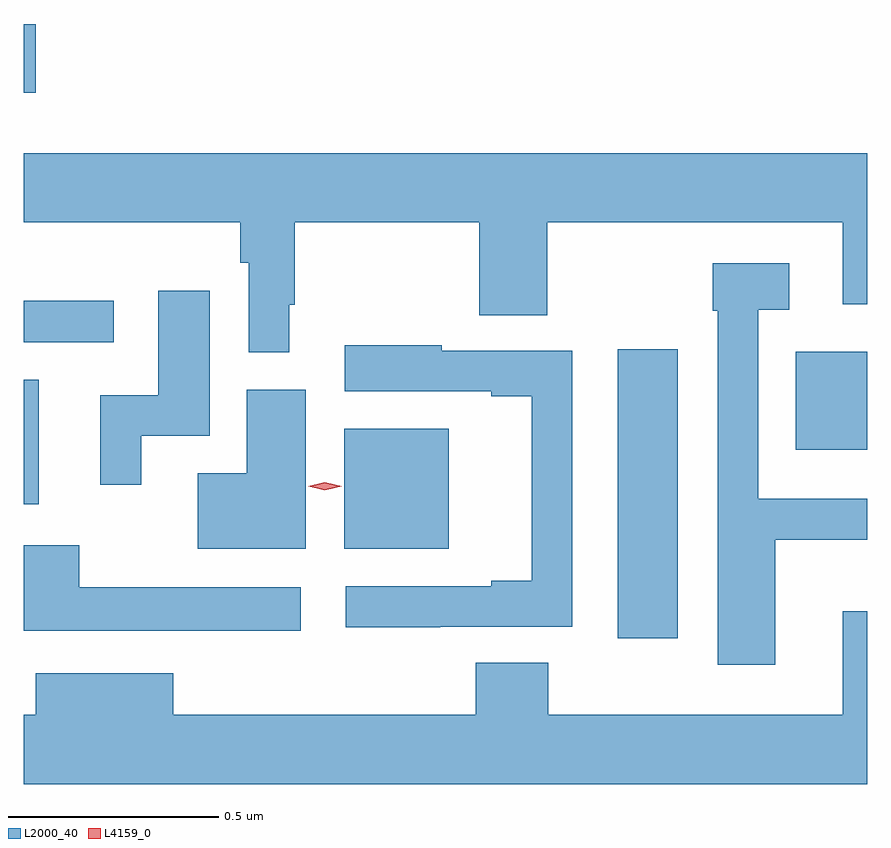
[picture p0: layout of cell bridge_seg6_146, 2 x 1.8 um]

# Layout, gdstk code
import gdstk
lib = gdstk.Library(unit=1e-6, precision=1e-09)
def R(c, l, rs):  # rectangles x0, y0, x1, y1
    for r in rs: c.add(gdstk.rectangle(r[:2], r[2:], *l))
def P(c, l, *ps):  # polygons
    for p in ps: c.add(gdstk.Polygon(p, *l))
L2000_40 = (2000, 40)
L4159_0 = (4159, 0)

bridge_seg6_146 = lib.new_cell('bridge_seg6_146')
R(bridge_seg6_146, L2000_40, [(618.221,995.634,618.364,996.319), (617.573,995.846,617.821,996.13), (616.813,995.951,616.849,996.247), (618.644,996.08,618.813,996.313), (616.813,996.336,617.026,996.434), (616.813,996.927,616.841,997.09)])
P(bridge_seg6_146, L2000_40, [(617.443,996.424),(617.455,996.424),(617.455,996.62),(617.893,996.62),(617.893,996.4),(618.054,996.4),(618.054,996.62),(618.755,996.62),(618.755,996.426),(618.813,996.426),(618.813,996.784),(616.813,996.784),(616.813,996.62),(617.326,996.62),(617.326,996.524),(617.346,996.524),(617.346,996.312),(617.443,996.312)],
  [(618.595,995.867),(618.813,995.867),(618.813,995.964),(618.555,995.964),(618.555,996.413),(618.628,996.413),(618.628,996.523),(618.447,996.523),(618.447,996.41),(618.459,996.41),(618.459,995.861),(618.458,995.861),(618.458,995.571),(618.595,995.571)],
  [(617.092,996.114),(617.254,996.114),(617.254,996.457),(617.132,996.457),(617.132,996.21),(616.994,996.21),(616.994,995.997),(617.092,995.997)],
  [(617.801,995.661),(618.114,995.661),(618.114,996.315),(617.804,996.315),(617.804,996.328),(617.574,996.328),(617.574,996.219),(617.921,996.219),(617.921,996.207),(618.017,996.207),(618.017,995.77),(617.921,995.77),(617.921,995.757),(617.577,995.757),(617.577,995.66),(617.801,995.66)],
  [(617.482,996.223),(617.342,996.223),(617.342,996.025),(617.225,996.025),(617.225,995.846),(617.482,995.846)],
  [(617.47,995.755),(616.945,995.755),(616.945,995.854),(616.813,995.854),(616.813,995.651),(617.47,995.651)],
  [(618.813,995.698),(618.755,995.698),(618.755,995.452),(618.057,995.452),(618.057,995.576),(617.885,995.576),(617.885,995.452),(617.167,995.452),(617.167,995.551),(616.841,995.551),(616.841,995.452),(616.813,995.452),(616.813,995.288),(618.813,995.288)])
P(bridge_seg6_146, L4159_0, [(617.527,995.984),(617.488,995.994),(617.488,995.994),(617.488,995.994),(617.527,996.004),(617.567,995.994),(617.567,995.994),(617.567,995.994)])

lib.write_gds('bridge_seg6_146.gds')
